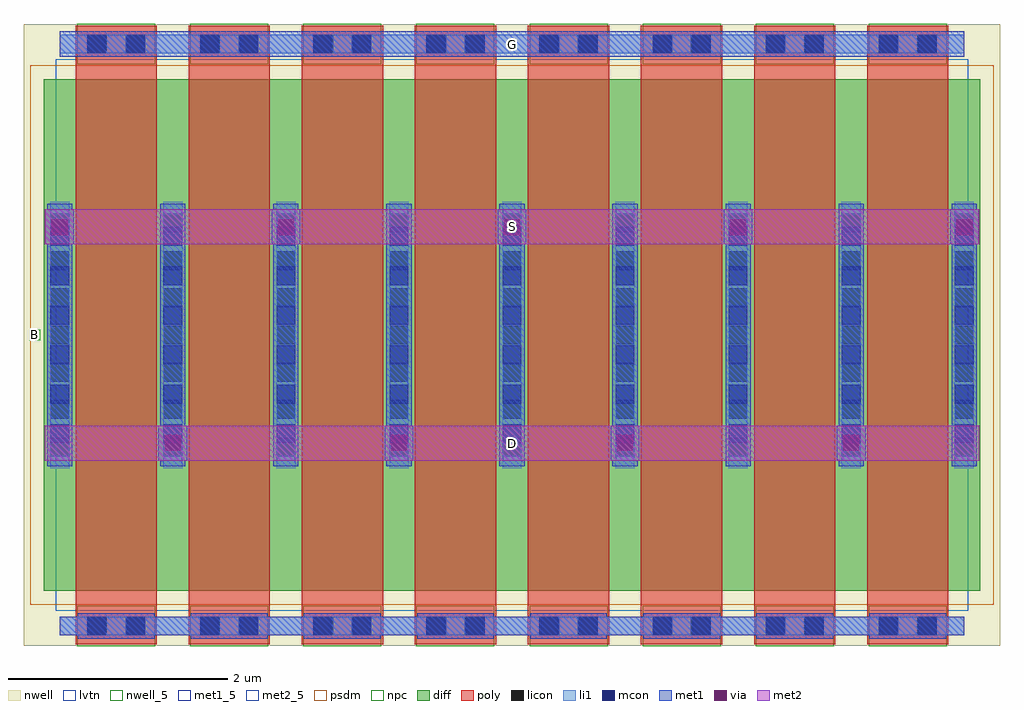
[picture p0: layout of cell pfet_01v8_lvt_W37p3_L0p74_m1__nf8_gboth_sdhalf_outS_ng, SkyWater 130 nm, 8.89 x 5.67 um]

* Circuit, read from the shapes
.subckt pfet_01v8_lvt_W37p3_L0p74_m1__nf8_gboth_sdhalf_outS_ng B D G S
XM1 D G S B sky130_fd_pr__pfet_01v8_lvt w=4.66 l=0.74 m=8
.ends

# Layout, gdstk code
import gdstk
lib = gdstk.Library(unit=1e-6, precision=1e-09)
def R(c, l, rs):  # rectangles x0, y0, x1, y1
    for r in rs: c.add(gdstk.rectangle(r[:2], r[2:], *l))
def A(c, l, x, y, w, h, nx, ny, dx, dy):  # array of equal rectangles
    R(c, l, [(x+i*dx, y+j*dy, x+i*dx+w, y+j*dy+h) for i in range(nx) for j in range(ny)])
nwell_5 = (64, 5)
nwell = (64, 20)
diff = (65, 20)
poly = (66, 20)
licon = (66, 44)
li1 = (67, 20)
mcon = (67, 44)
met1_5 = (68, 5)
met1 = (68, 20)
via = (68, 44)
met2_5 = (69, 5)
met2 = (69, 20)
psdm = (94, 20)
npc = (95, 20)
lvtn = (125, 44)

sky130_fd_pr__pfet_01v8_ = lib.new_cell('sky130_fd_pr__pfet_01v8_lvt_AA9UJE')
R(sky130_fd_pr__pfet_01v8_, nwell, [(-4.445,-2.83,4.445,2.83)])
R(sky130_fd_pr__pfet_01v8_, diff, [(-4.265,-2.33,4.265,2.33)])
A(sky130_fd_pr__pfet_01v8_, poly, -3.975, -2.815, 0.74, 5.63, 8, 1, 1.03, 0)
A(sky130_fd_pr__pfet_01v8_, licon, -4.205, -1.105, 0.17, 0.17, 9, 7, 1.03, 0.34)
R(sky130_fd_pr__pfet_01v8_, licon, [(-3.86,-2.735,-3.69,-2.565), (-3.52,-2.735,-3.35,-2.565), (-2.83,-2.735,-2.66,-2.565), (-2.49,-2.735,-2.32,-2.565), (-1.8,-2.735,-1.63,-2.565), (-1.46,-2.735,-1.29,-2.565), (-0.77,-2.735,-0.6,-2.565), (-0.43,-2.735,-0.26,-2.565), (0.26,-2.735,0.43,-2.565), (0.6,-2.735,0.77,-2.565), (1.29,-2.735,1.46,-2.565), (1.63,-2.735,1.8,-2.565), (2.32,-2.735,2.49,-2.565), (2.66,-2.735,2.83,-2.565), (3.35,-2.735,3.52,-2.565), (3.69,-2.735,3.86,-2.565), (-3.86,2.565,-3.69,2.735), (-3.52,2.565,-3.35,2.735), (-2.83,2.565,-2.66,2.735), (-2.49,2.565,-2.32,2.735), (-1.8,2.565,-1.63,2.735), (-1.46,2.565,-1.29,2.735), (-0.77,2.565,-0.6,2.735), (-0.43,2.565,-0.26,2.735), (0.26,2.565,0.43,2.735), (0.6,2.565,0.77,2.735), (1.29,2.565,1.46,2.735), (1.63,2.565,1.8,2.735), (2.32,2.565,2.49,2.735), (2.66,2.565,2.83,2.735), (3.35,2.565,3.52,2.735), (3.69,2.565,3.86,2.735)])
A(sky130_fd_pr__pfet_01v8_, li1, -4.205, -1.215, 0.17, 2.43, 9, 1, 1.03, 0)
R(sky130_fd_pr__pfet_01v8_, li1, [(-4.12,-2.735,4.12,-2.565), (-4.12,2.565,4.12,2.735)])
A(sky130_fd_pr__pfet_01v8_, mcon, -4.205, -0.985, 0.17, 0.17, 9, 6, 1.03, 0.36)
R(sky130_fd_pr__pfet_01v8_, mcon, [(-3.87,-2.735,-3.7,-2.565), (-3.51,-2.735,-3.34,-2.565), (-2.84,-2.735,-2.67,-2.565), (-2.48,-2.735,-2.31,-2.565), (-1.81,-2.735,-1.64,-2.565), (-1.45,-2.735,-1.28,-2.565), (-0.78,-2.735,-0.61,-2.565), (-0.42,-2.735,-0.25,-2.565), (0.25,-2.735,0.42,-2.565), (0.61,-2.735,0.78,-2.565), (1.28,-2.735,1.45,-2.565), (1.64,-2.735,1.81,-2.565), (2.31,-2.735,2.48,-2.565), (2.67,-2.735,2.84,-2.565), (3.34,-2.735,3.51,-2.565), (3.7,-2.735,3.87,-2.565), (-3.87,2.565,-3.7,2.735), (-3.51,2.565,-3.34,2.735), (-2.84,2.565,-2.67,2.735), (-2.48,2.565,-2.31,2.735), (-1.81,2.565,-1.64,2.735), (-1.45,2.565,-1.28,2.735), (-0.78,2.565,-0.61,2.735), (-0.42,2.565,-0.25,2.735), (0.25,2.565,0.42,2.735), (0.61,2.565,0.78,2.735), (1.28,2.565,1.45,2.735), (1.64,2.565,1.81,2.735), (2.31,2.565,2.48,2.735), (2.67,2.565,2.84,2.735), (3.34,2.565,3.51,2.735), (3.7,2.565,3.87,2.735)])
A(sky130_fd_pr__pfet_01v8_, met1, -3.955, -2.765, 0.7, 0.03, 8, 2, 1.03, 0.2)
A(sky130_fd_pr__pfet_01v8_, met1, -4.235, -1.195, 0.23, 2.39, 9, 1, 1.03, 0)
A(sky130_fd_pr__pfet_01v8_, met1, -3.955, 2.535, 0.7, 0.03, 8, 2, 1.03, 0.2)
R(sky130_fd_pr__pfet_01v8_, met1, [(-4.12,-2.735,4.12,-2.565), (-4.12,2.565,4.12,2.735)])
R(sky130_fd_pr__pfet_01v8_, psdm, [(-4.39,-2.455,4.39,2.455)])
A(sky130_fd_pr__pfet_01v8_, npc, -3.96, -2.835, 0.71, 0.37, 8, 2, 1.03, 5.3)
R(sky130_fd_pr__pfet_01v8_, lvtn, [(-4.155,-2.51,4.155,2.51)])
sky130_fd_pr__pfet_01v8_.add(gdstk.Label('D0', (-4.12,0), layer=67, texttype=5))
sky130_fd_pr__pfet_01v8_.add(gdstk.Label('G', (3.605,2.65), layer=67, texttype=5))
sky130_fd_pr__pfet_01v8_.add(gdstk.Label('G', (2.575,2.65), layer=67, texttype=5))
sky130_fd_pr__pfet_01v8_.add(gdstk.Label('G', (1.545,2.65), layer=67, texttype=5))
sky130_fd_pr__pfet_01v8_.add(gdstk.Label('G', (0.515,2.65), layer=67, texttype=5))
sky130_fd_pr__pfet_01v8_.add(gdstk.Label('G', (-0.515,2.65), layer=67, texttype=5))
sky130_fd_pr__pfet_01v8_.add(gdstk.Label('G', (-1.545,2.65), layer=67, texttype=5))
sky130_fd_pr__pfet_01v8_.add(gdstk.Label('G', (-2.575,2.65), layer=67, texttype=5))
sky130_fd_pr__pfet_01v8_.add(gdstk.Label('G', (-3.605,2.65), layer=67, texttype=5))
sky130_fd_pr__pfet_01v8_.add(gdstk.Label('S1', (-3.09,0), layer=67, texttype=5))
sky130_fd_pr__pfet_01v8_.add(gdstk.Label('D2', (-2.06,0), layer=67, texttype=5))
sky130_fd_pr__pfet_01v8_.add(gdstk.Label('S3', (-1.03,0), layer=67, texttype=5))
sky130_fd_pr__pfet_01v8_.add(gdstk.Label('D4', (0,0), layer=67, texttype=5))
sky130_fd_pr__pfet_01v8_.add(gdstk.Label('S5', (1.03,0), layer=67, texttype=5))
sky130_fd_pr__pfet_01v8_.add(gdstk.Label('D6', (2.06,0), layer=67, texttype=5))
sky130_fd_pr__pfet_01v8_.add(gdstk.Label('S7', (3.09,0), layer=67, texttype=5))

pfet_01v8_lvt_w37p3_l0p7 = lib.new_cell('pfet_01v8_lvt_W37p3_L0p74_m1__nf8_gboth_sdhalf_outS_ng')
R(pfet_01v8_lvt_w37p3_l0p7, nwell_5, [(0.05,2.78,0.15,2.88)])
R(pfet_01v8_lvt_w37p3_l0p7, nwell, [(0.05,2.78,0.15,2.88)])
R(pfet_01v8_lvt_w37p3_l0p7, met1_5, [(0.325,5.365,8.565,5.595)])
A(pfet_01v8_lvt_w37p3_l0p7, met1, 1.225, 1.685, 0.26, 0.32, 4, 1, 2.06, 0)
A(pfet_01v8_lvt_w37p3_l0p7, met1, 0.195, 3.655, 0.26, 0.32, 5, 1, 2.06, 0)
R(pfet_01v8_lvt_w37p3_l0p7, met1, [(0.325,5.365,8.565,5.595)])
A(pfet_01v8_lvt_w37p3_l0p7, via, 1.28, 1.77, 0.15, 0.15, 4, 1, 2.06, 0)
A(pfet_01v8_lvt_w37p3_l0p7, via, 0.25, 3.74, 0.15, 0.15, 5, 1, 2.06, 0)
R(pfet_01v8_lvt_w37p3_l0p7, met2_5, [(0.19,1.685,8.7,2.005), (0.19,3.655,8.7,3.975)])
R(pfet_01v8_lvt_w37p3_l0p7, met2, [(0.19,1.685,8.7,2.005), (0.19,3.655,8.7,3.975)])
pfet_01v8_lvt_w37p3_l0p7.add(gdstk.Reference(sky130_fd_pr__pfet_01v8_, (4.445,2.83)))
pfet_01v8_lvt_w37p3_l0p7.add(gdstk.Label('S', (4.445,3.815), layer=69, texttype=5))
pfet_01v8_lvt_w37p3_l0p7.add(gdstk.Label('D', (4.445,1.845), layer=69, texttype=5))
pfet_01v8_lvt_w37p3_l0p7.add(gdstk.Label('G', (4.445,5.48), layer=68, texttype=5))
pfet_01v8_lvt_w37p3_l0p7.add(gdstk.Label('B', (0.1,2.83), layer=64, texttype=5))

lib.write_gds('pfet_01v8_lvt_W37p3_L0p74_m1__nf8_gboth_sdhalf_outS_ng.gds')
